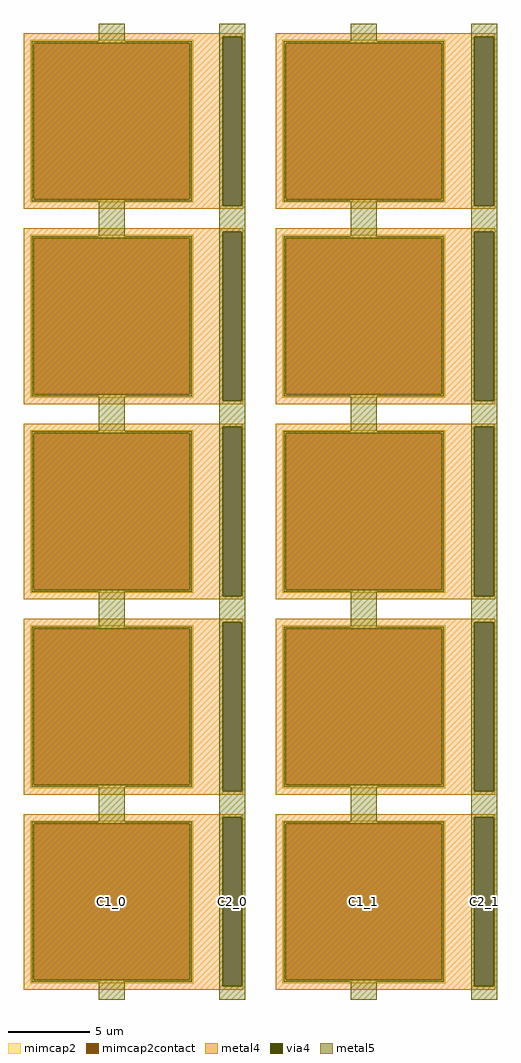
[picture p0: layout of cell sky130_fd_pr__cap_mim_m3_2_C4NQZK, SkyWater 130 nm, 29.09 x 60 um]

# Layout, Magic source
magic
tech sky130A
magscale 1 2
<< metal4 >>
rect -2898 5839 -200 5880
rect -2898 3761 -456 5839
rect -220 3761 -200 5839
rect -2898 3720 -200 3761
rect 200 5839 2898 5880
rect 200 3761 2642 5839
rect 2878 3761 2898 5839
rect 200 3720 2898 3761
rect -2898 3439 -200 3480
rect -2898 1361 -456 3439
rect -220 1361 -200 3439
rect -2898 1320 -200 1361
rect 200 3439 2898 3480
rect 200 1361 2642 3439
rect 2878 1361 2898 3439
rect 200 1320 2898 1361
rect -2898 1039 -200 1080
rect -2898 -1039 -456 1039
rect -220 -1039 -200 1039
rect -2898 -1080 -200 -1039
rect 200 1039 2898 1080
rect 200 -1039 2642 1039
rect 2878 -1039 2898 1039
rect 200 -1080 2898 -1039
rect -2898 -1361 -200 -1320
rect -2898 -3439 -456 -1361
rect -220 -3439 -200 -1361
rect -2898 -3480 -200 -3439
rect 200 -1361 2898 -1320
rect 200 -3439 2642 -1361
rect 2878 -3439 2898 -1361
rect 200 -3480 2898 -3439
rect -2898 -3761 -200 -3720
rect -2898 -5839 -456 -3761
rect -220 -5839 -200 -3761
rect -2898 -5880 -200 -5839
rect 200 -3761 2898 -3720
rect 200 -5839 2642 -3761
rect 2878 -5839 2898 -3761
rect 200 -5880 2898 -5839
<< via4 >>
rect -456 3761 -220 5839
rect 2642 3761 2878 5839
rect -456 1361 -220 3439
rect 2642 1361 2878 3439
rect -456 -1039 -220 1039
rect 2642 -1039 2878 1039
rect -456 -3439 -220 -1361
rect 2642 -3439 2878 -1361
rect -456 -5839 -220 -3761
rect 2642 -5839 2878 -3761
<< mimcap2 >>
rect -2818 5760 -818 5800
rect -2818 3840 -2778 5760
rect -858 3840 -818 5760
rect -2818 3800 -818 3840
rect 280 5760 2280 5800
rect 280 3840 320 5760
rect 2240 3840 2280 5760
rect 280 3800 2280 3840
rect -2818 3360 -818 3400
rect -2818 1440 -2778 3360
rect -858 1440 -818 3360
rect -2818 1400 -818 1440
rect 280 3360 2280 3400
rect 280 1440 320 3360
rect 2240 1440 2280 3360
rect 280 1400 2280 1440
rect -2818 960 -818 1000
rect -2818 -960 -2778 960
rect -858 -960 -818 960
rect -2818 -1000 -818 -960
rect 280 960 2280 1000
rect 280 -960 320 960
rect 2240 -960 2280 960
rect 280 -1000 2280 -960
rect -2818 -1440 -818 -1400
rect -2818 -3360 -2778 -1440
rect -858 -3360 -818 -1440
rect -2818 -3400 -818 -3360
rect 280 -1440 2280 -1400
rect 280 -3360 320 -1440
rect 2240 -3360 2280 -1440
rect 280 -3400 2280 -3360
rect -2818 -3840 -818 -3800
rect -2818 -5760 -2778 -3840
rect -858 -5760 -818 -3840
rect -2818 -5800 -818 -5760
rect 280 -3840 2280 -3800
rect 280 -5760 320 -3840
rect 2240 -5760 2280 -3840
rect 280 -5800 2280 -5760
<< mimcap2contact >>
rect -2778 3840 -858 5760
rect 320 3840 2240 5760
rect -2778 1440 -858 3360
rect 320 1440 2240 3360
rect -2778 -960 -858 960
rect 320 -960 2240 960
rect -2778 -3360 -858 -1440
rect 320 -3360 2240 -1440
rect -2778 -5760 -858 -3840
rect 320 -5760 2240 -3840
<< metal5 >>
rect -1978 5784 -1658 6000
rect -498 5839 -178 6000
rect -2802 5760 -834 5784
rect -2802 3840 -2778 5760
rect -858 3840 -834 5760
rect -2802 3816 -834 3840
rect -1978 3384 -1658 3816
rect -498 3761 -456 5839
rect -220 3761 -178 5839
rect 1120 5784 1440 6000
rect 2600 5839 2920 6000
rect 296 5760 2264 5784
rect 296 3840 320 5760
rect 2240 3840 2264 5760
rect 296 3816 2264 3840
rect -498 3439 -178 3761
rect -2802 3360 -834 3384
rect -2802 1440 -2778 3360
rect -858 1440 -834 3360
rect -2802 1416 -834 1440
rect -1978 984 -1658 1416
rect -498 1361 -456 3439
rect -220 1361 -178 3439
rect 1120 3384 1440 3816
rect 2600 3761 2642 5839
rect 2878 3761 2920 5839
rect 2600 3439 2920 3761
rect 296 3360 2264 3384
rect 296 1440 320 3360
rect 2240 1440 2264 3360
rect 296 1416 2264 1440
rect -498 1039 -178 1361
rect -2802 960 -834 984
rect -2802 -960 -2778 960
rect -858 -960 -834 960
rect -2802 -984 -834 -960
rect -1978 -1416 -1658 -984
rect -498 -1039 -456 1039
rect -220 -1039 -178 1039
rect 1120 984 1440 1416
rect 2600 1361 2642 3439
rect 2878 1361 2920 3439
rect 2600 1039 2920 1361
rect 296 960 2264 984
rect 296 -960 320 960
rect 2240 -960 2264 960
rect 296 -984 2264 -960
rect -498 -1361 -178 -1039
rect -2802 -1440 -834 -1416
rect -2802 -3360 -2778 -1440
rect -858 -3360 -834 -1440
rect -2802 -3384 -834 -3360
rect -1978 -3816 -1658 -3384
rect -498 -3439 -456 -1361
rect -220 -3439 -178 -1361
rect 1120 -1416 1440 -984
rect 2600 -1039 2642 1039
rect 2878 -1039 2920 1039
rect 2600 -1361 2920 -1039
rect 296 -1440 2264 -1416
rect 296 -3360 320 -1440
rect 2240 -3360 2264 -1440
rect 296 -3384 2264 -3360
rect -498 -3761 -178 -3439
rect -2802 -3840 -834 -3816
rect -2802 -5760 -2778 -3840
rect -858 -5760 -834 -3840
rect -2802 -5784 -834 -5760
rect -1978 -6000 -1658 -5784
rect -498 -5839 -456 -3761
rect -220 -5839 -178 -3761
rect 1120 -3816 1440 -3384
rect 2600 -3439 2642 -1361
rect 2878 -3439 2920 -1361
rect 2600 -3761 2920 -3439
rect 296 -3840 2264 -3816
rect 296 -5760 320 -3840
rect 2240 -5760 2264 -3840
rect 296 -5784 2264 -5760
rect -498 -6000 -178 -5839
rect 1120 -6000 1440 -5784
rect 2600 -5839 2642 -3761
rect 2878 -5839 2920 -3761
rect 2600 -6000 2920 -5839
<< labels >>
rlabel via4 -338 -4800 -338 -4800 0 C2_0
port 1 nsew
rlabel mimcap2contact -1818 -4800 -1818 -4800 0 C1_0
port 2 nsew
rlabel via4 2760 -4800 2760 -4800 0 C2_1
port 3 nsew
rlabel mimcap2contact 1280 -4800 1280 -4800 0 C1_1
port 4 nsew
<< properties >>
string FIXED_BBOX 200 3720 2360 5880
string gencell sky130_fd_pr__cap_mim_m3_2
string library sky130
string parameters w 10.0 l 10.0 val 207.6 carea 2.00 cperi 0.19 class capacitor nx 2 ny 5 dummy 0 square 1 lmin 2.00 wmin 2.00 lmax 30.0 wmax 30.0 dc 0 bconnect 1 tconnect 1 ccov 100 doports 1
<< end >>
